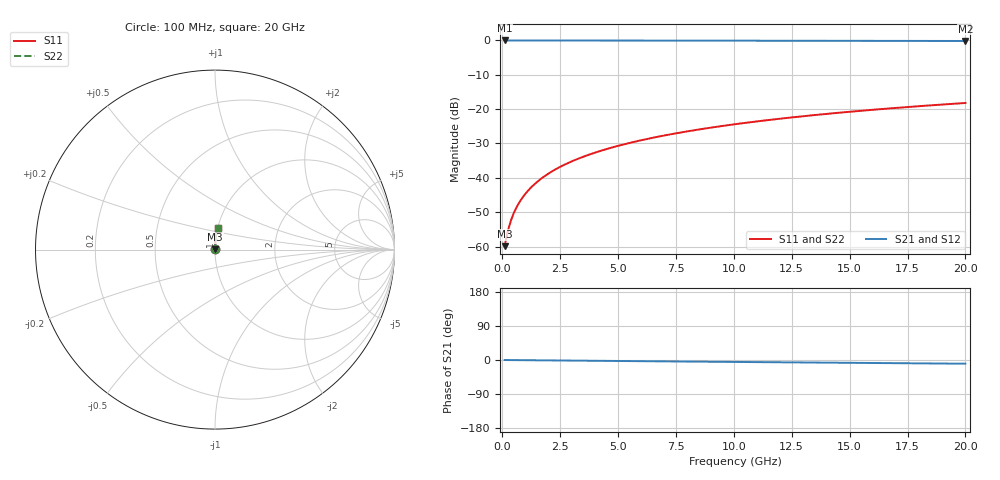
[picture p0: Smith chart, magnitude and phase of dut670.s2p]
! Touchstone file exported from HFSS 2024.1.0
!  File:  C:/UserFiles/LocalFiles/RDL_TSV_Batchsim/temp_RDL_bottom_670_1779786170.aedt
!  Generated:  05:05:17 PM May 26, 2026
!  Design:  RDL_bottom
!  Project:  temp_RDL_bottom_670_1779786170
!  Setup:  Setup1
!  Solution:  Sweep
! Variables:
!  dtsv = 10.80580581um
!  hbump = 3um
!  htsv = 60.63um
!  ldown = 102.67um
!  lrdl = 100um
!  p = 40
!  p1 = 44.83um
!  rhole = 1um
!  t = 450um
!  tdown = 3.51um
!  trdl = 3.915915916um
!  wdown = 17.2um
!  wrdl = 20um
# GHz S MA R 50.000000
! Terminal data exported
! Port[1] = RDL1_T1
! Port[2] = RDL1_T2
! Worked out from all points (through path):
!   200 points, 100 MHz to 20 GHz, reference 50 ohm
!   highest |S21| = -0.01 dB at 100 MHz (marker M1); lowest = -0.2 dB at 20 GHz (marker M2)
!   group delay of S21, straight-line fit = 1.35 ps
!   lowest |S11| = -59.9 dB at 100 MHz (marker M3), VSWR 1.00, Z = 50.1 + j0.0612 ohm
!   |S11| at or under -10 dB: start of sweep to end of sweep
!   |S22| runs from -59.9 to -18.2 dB; largest |S21 - S12| = 2.4e-15
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0.1  0.001013 37.1  0.9992 -0.1  0.9992 -0.1  0.001013 37.1
! Gamma 0 0 0 0
! Port Impedance 50 0 50 0
0.2  0.001469 55.6  0.9992 -0.1  0.9992 -0.1  0.001469 55.6
0.3  0.001994 64.6  0.9991 -0.2  0.9991 -0.2  0.001994 64.6
0.4  0.002537 69.8  0.9991 -0.2  0.9991 -0.2  0.002537 69.8
0.5  0.003086 73.1  0.9991 -0.3  0.9991 -0.3  0.003086 73.1
0.6  0.003639 75.5  0.999 -0.3  0.999 -0.3  0.003639 75.5
0.8  0.004754 78.7  0.999 -0.4  0.999 -0.4  0.004754 78.7
1.1  0.006442 81.6  0.9989 -0.6  0.9989 -0.6  0.006442 81.6
1.5  0.008714 83.8  0.9988 -0.8  0.9988 -0.8  0.008714 83.8
1.8  0.01043 84.8  0.9987 -1.0  0.9987 -1.0  0.01043 84.8
2.1  0.01216 85.6  0.9985 -1.1  0.9985 -1.1  0.01216 85.6
2.7  0.01563 86.6  0.9982 -1.4  0.9982 -1.4  0.01563 86.6
3.5  0.02031 87.3  0.9977 -1.9  0.9977 -1.9  0.02031 87.3
4.2  0.02444 87.7  0.9972 -2.2  0.9972 -2.2  0.02444 87.7
5  0.02922 88.0  0.9965 -2.6  0.9965 -2.6  0.02922 88.0
5.9  0.03465 88.1  0.9957 -3.1  0.9957 -3.1  0.03465 88.1
6.8  0.04015 88.0  0.9948 -3.6  0.9948 -3.6  0.04015 88.0
8.3  0.04941 87.8  0.9933 -4.3  0.9933 -4.3  0.04941 87.8
10.1  0.06066 87.2  0.9914 -5.2  0.9914 -5.2  0.06066 87.2
13.4  0.08147 85.8  0.9881 -6.7  0.9881 -6.7  0.08147 85.8
16.7  0.1023 84.2  0.9847 -8.3  0.9847 -8.3  0.1023 84.2
20  0.123 82.5  0.9812 -9.8  0.9812 -9.8  0.123 82.5
